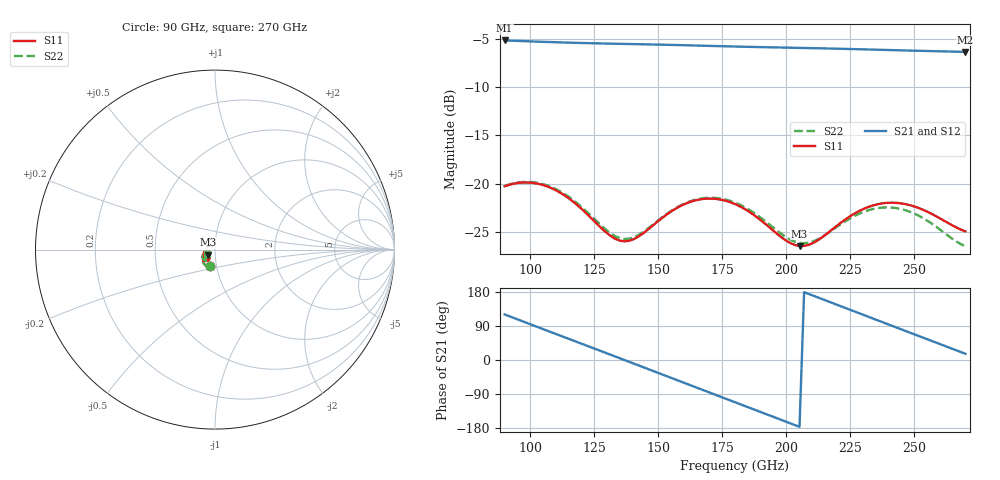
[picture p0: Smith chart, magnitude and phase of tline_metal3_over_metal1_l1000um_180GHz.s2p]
#  GHZ S DB R 50
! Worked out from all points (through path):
!   101 points, 90 GHz to 270 GHz, reference 50 ohm
!   highest |S21| = -5.17 dB at 90 GHz (marker M1); lowest = -6.4 dB at 270 GHz (marker M2)
!   group delay of S21, straight-line fit = 7.16 ps
!   lowest |S11| = -26.4 dB at 205.2 GHz (marker M3), VSWR 1.10, Z = 46.2 - j2.56 ohm
!   |S11| at or under -10 dB: start of sweep to end of sweep
!   |S22| runs from -26.5 to -19.8 dB; largest |S21 - S12| = 9e-14
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90  -20.26 -106.4  -5.17 120.2  -5.17 120.2  -20.22 -107.4
97.2  -19.87 -116.8  -5.24 101.7  -5.24 101.7  -19.81 -117.5
104.4  -20.08 -127.7  -5.31 83.2  -5.31 83.2  -19.99 -128.3
111.6  -20.90 -137.6  -5.37 64.7  -5.37 64.7  -20.77 -138.1
120.6  -22.73 -145.7  -5.44 41.6  -5.44 41.6  -22.53 -146.3
129.6  -25.02 -143.7  -5.49 18.5  -5.49 18.5  -24.75 -144.8
136.8  -25.95 -132.8  -5.53 -0.0  -5.53 -0.0  -25.71 -134.5
144  -25.15 -122.3  -5.57 -18.6  -5.57 -18.6  -25.01 -124.3
151.2  -23.60 -120.2  -5.61 -37.2  -5.61 -37.2  -23.53 -121.8
165.6  -21.65 -132.5  -5.70 -74.4  -5.70 -74.4  -21.58 -133.5
172.8  -21.57 -141.3  -5.75 -92.9  -5.75 -92.9  -21.47 -142.1
180  -22.09 -149.6  -5.80 -111.5  -5.80 -111.5  -21.95 -150.3
192.6  -24.32 -157.1  -5.87 -143.9  -5.87 -143.9  -24.03 -158.1
205.2  -26.43 -144.6  -5.94 -176.4  -5.94 -176.4  -26.12 -147.8
210.6  -26.11 -135.9  -5.97 169.7  -5.97 169.7  -25.95 -140.0
217.8  -24.76 -129.9  -6.01 151.0  -6.01 151.0  -24.83 -134.1
226.8  -23.06 -132.1  -6.07 127.8  -6.07 127.8  -23.31 -135.9
234  -22.23 -138.1  -6.12 109.2  -6.12 109.2  -22.60 -141.6
241.2  -21.96 -145.4  -6.17 90.6  -6.17 90.6  -22.46 -148.8
253.8  -22.73 -156.5  -6.25 58.2  -6.25 58.2  -23.60 -159.3
262.8  -23.99 -159.0  -6.31 35.0  -6.31 35.0  -25.28 -159.8
270  -24.92 -155.5  -6.35 16.4  -6.35 16.4  -26.45 -152.5
